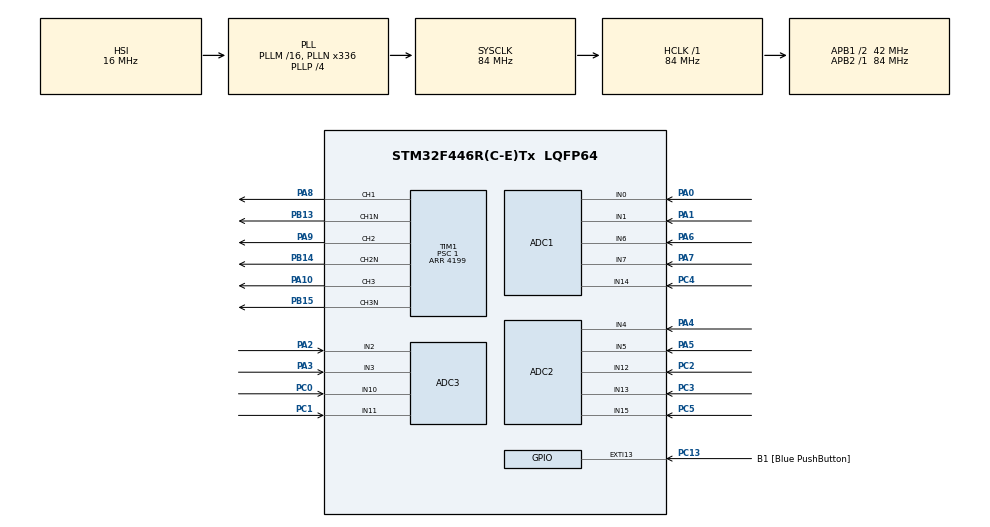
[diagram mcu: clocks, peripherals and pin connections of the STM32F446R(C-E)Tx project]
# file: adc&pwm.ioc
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ADC1.Channel-0\#ChannelRegularConversion=ADC_CHANNEL_0
ADC1.Channel-1\#ChannelRegularConversion=ADC_CHANNEL_1
ADC1.Channel-2\#ChannelRegularConversion=ADC_CHANNEL_6
ADC1.Channel-3\#ChannelRegularConversion=ADC_CHANNEL_7
ADC1.Channel-4\#ChannelRegularConversion=ADC_CHANNEL_14
ADC1.ContinuousConvMode=ENABLE
ADC1.DMAContinuousRequests=ENABLE
ADC1.EOCSelection=ADC_EOC_SINGLE_CONV
ADC1.EnableAnalogWatchDog=false
ADC1.Mode=ADC_TRIPLEMODE_REGSIMULT
ADC1.NbrOfConversion=5
ADC1.NbrOfConversionFlag=1
ADC1.Rank-0\#ChannelRegularConversion=1
ADC1.Rank-1\#ChannelRegularConversion=2
ADC1.Rank-2\#ChannelRegularConversion=3
ADC1.Rank-3\#ChannelRegularConversion=4
ADC1.Rank-4\#ChannelRegularConversion=5
ADC1.SamplingTime-0\#ChannelRegularConversion=ADC_SAMPLETIME_3CYCLES
ADC1.SamplingTime-1\#ChannelRegularConversion=ADC_SAMPLETIME_3CYCLES
ADC1.SamplingTime-2\#ChannelRegularConversion=ADC_SAMPLETIME_3CYCLES
ADC1.SamplingTime-3\#ChannelRegularConversion=ADC_SAMPLETIME_3CYCLES
ADC1.SamplingTime-4\#ChannelRegularConversion=ADC_SAMPLETIME_3CYCLES
ADC1.master=1
ADC2.Channel-3\#ChannelRegularConversion=ADC_CHANNEL_12
ADC2.Channel-4\#ChannelRegularConversion=ADC_CHANNEL_13
ADC2.Channel-5\#ChannelRegularConversion=ADC_CHANNEL_4
ADC2.Channel-6\#ChannelRegularConversion=ADC_CHANNEL_5
ADC2.Channel-7\#ChannelRegularConversion=ADC_CHANNEL_15
ADC2.Mode=ADC_TRIPLEMODE_REGSIMULT
ADC2.NbrOfConversion=5
ADC2.NbrOfConversionFlag=1
ADC2.Rank-3\#ChannelRegularConversion=1
ADC2.Rank-4\#ChannelRegularConversion=2
ADC2.Rank-5\#ChannelRegularConversion=3
ADC2.Rank-6\#ChannelRegularConversion=4
ADC2.Rank-7\#ChannelRegularConversion=5
ADC2.SamplingTime-3\#ChannelRegularConversion=ADC_SAMPLETIME_3CYCLES
ADC2.SamplingTime-4\#ChannelRegularConversion=ADC_SAMPLETIME_3CYCLES
ADC2.SamplingTime-5\#ChannelRegularConversion=ADC_SAMPLETIME_3CYCLES
ADC2.SamplingTime-6\#ChannelRegularConversion=ADC_SAMPLETIME_3CYCLES
ADC2.SamplingTime-7\#ChannelRegularConversion=ADC_SAMPLETIME_3CYCLES
ADC3.Channel-0\#ChannelRegularConversion=ADC_CHANNEL_10
ADC3.Channel-1\#ChannelRegularConversion=ADC_CHANNEL_11
ADC3.Channel-2\#ChannelRegularConversion=ADC_CHANNEL_2
ADC3.Channel-3\#ChannelRegularConversion=ADC_CHANNEL_3
ADC3.Channel-4\#ChannelRegularConversion=ADC_CHANNEL_10
ADC3.Mode=ADC_TRIPLEMODE_REGSIMULT
ADC3.NbrOfConversion=5
ADC3.NbrOfConversionFlag=1
ADC3.Rank-0\#ChannelRegularConversion=1
ADC3.Rank-1\#ChannelRegularConversion=2
ADC3.Rank-2\#ChannelRegularConversion=3
ADC3.Rank-3\#ChannelRegularConversion=4
ADC3.Rank-4\#ChannelRegularConversion=5
ADC3.SamplingTime-0\#ChannelRegularConversion=ADC_SAMPLETIME_3CYCLES
ADC3.SamplingTime-1\#ChannelRegularConversion=ADC_SAMPLETIME_3CYCLES
ADC3.SamplingTime-2\#ChannelRegularConversion=ADC_SAMPLETIME_3CYCLES
ADC3.SamplingTime-3\#ChannelRegularConversion=ADC_SAMPLETIME_3CYCLES
ADC3.SamplingTime-4\#ChannelRegularConversion=ADC_SAMPLETIME_3CYCLES
Dma.ADC1.0.Direction=DMA_PERIPH_TO_MEMORY
Dma.ADC1.0.FIFOMode=DMA_FIFOMODE_DISABLE
Dma.ADC1.0.Instance=DMA2_Stream0
Dma.ADC1.0.MemDataAlignment=DMA_MDATAALIGN_WORD
Dma.ADC1.0.MemInc=DMA_MINC_ENABLE
Dma.ADC1.0.Mode=DMA_CIRCULAR
Dma.ADC1.0.PeriphDataAlignment=DMA_PDATAALIGN_WORD
Dma.ADC1.0.PeriphInc=DMA_PINC_DISABLE
Dma.ADC1.0.Priority=DMA_PRIORITY_LOW
Dma.ADC2.2.Direction=DMA_PERIPH_TO_MEMORY
Dma.ADC2.2.FIFOMode=DMA_FIFOMODE_DISABLE
Dma.ADC2.2.Instance=DMA2_Stream2
Dma.ADC2.2.MemDataAlignment=DMA_MDATAALIGN_WORD
Dma.ADC2.2.MemInc=DMA_MINC_ENABLE
Dma.ADC2.2.Mode=DMA_CIRCULAR
Dma.ADC2.2.PeriphDataAlignment=DMA_PDATAALIGN_WORD
Dma.ADC2.2.PeriphInc=DMA_PINC_DISABLE
Dma.ADC2.2.Priority=DMA_PRIORITY_LOW
Dma.ADC3.1.Direction=DMA_PERIPH_TO_MEMORY
Dma.ADC3.1.FIFOMode=DMA_FIFOMODE_DISABLE
Dma.ADC3.1.Instance=DMA2_Stream1
Dma.ADC3.1.MemDataAlignment=DMA_MDATAALIGN_WORD
Dma.ADC3.1.MemInc=DMA_MINC_ENABLE
Dma.ADC3.1.Mode=DMA_CIRCULAR
Dma.ADC3.1.PeriphDataAlignment=DMA_PDATAALIGN_WORD
Dma.ADC3.1.PeriphInc=DMA_PINC_DISABLE
Dma.ADC3.1.Priority=DMA_PRIORITY_LOW
Dma.Request0=ADC1
Dma.Request1=ADC3
Dma.Request2=ADC2
Mcu.Family=STM32F4
Mcu.Name=STM32F446R(C-E)Tx
Mcu.Package=LQFP64
NVIC.DMA2_Stream0_IRQn=true\:0\:0\:false\:false\:true\:false\:true\:true
NVIC.DMA2_Stream1_IRQn=true\:0\:0\:false\:false\:true\:false\:true\:true
NVIC.DMA2_Stream2_IRQn=true\:0\:0\:false\:false\:true\:false\:true\:true
NVIC.PriorityGroup=NVIC_PRIORITYGROUP_0
PA0-WKUP.Signal=ADCx_IN0
PA1.Signal=ADCx_IN1
PA10.Signal=S_TIM1_CH3
PA13.GPIO_Label=TMS
PA13.Mode=Serial_Wire
PA13.Signal=SYS_JTMS-SWDIO
PA14.GPIO_Label=TCK
PA14.Mode=Serial_Wire
PA14.Signal=SYS_JTCK-SWCLK
PA2.Signal=ADCx_IN2
PA3.Signal=ADCx_IN3
PA4.Signal=ADCx_IN4
PA5.Signal=ADCx_IN5
PA6.Signal=ADCx_IN6
PA7.Signal=ADCx_IN7
PA8.Signal=S_TIM1_CH1
PA9.Signal=S_TIM1_CH2
PB13.Mode=PWM Generation1 CH1 CH1N
PB13.Signal=TIM1_CH1N
PB14.Mode=PWM Generation2 CH2 CH2N
PB14.Signal=TIM1_CH2N
PB15.Mode=PWM Generation3 CH3 CH3N
PB15.Signal=TIM1_CH3N
PB3.GPIO_Label=SWO
PB3.Signal=SYS_JTDO-SWO
PC0.Signal=ADCx_IN10
PC1.Signal=ADCx_IN11
PC13.GPIO_Label=B1 [Blue PushButton]
PC13.GPIO_ModeDefaultEXTI=GPIO_MODE_IT_FALLING
PC13.Signal=GPXTI13
PC14-OSC32_IN.Mode=LSE-External-Oscillator
PC14-OSC32_IN.Signal=RCC_OSC32_IN
PC15-OSC32_OUT.Mode=LSE-External-Oscillator
PC15-OSC32_OUT.Signal=RCC_OSC32_OUT
PC2.Signal=ADCx_IN12
PC3.Signal=ADCx_IN13
PC4.Signal=ADCx_IN14
PC5.Signal=ADCx_IN15
PH0-OSC_IN.Mode=HSE-External-Oscillator
PH0-OSC_IN.Signal=RCC_OSC_IN
PH1-OSC_OUT.Mode=HSE-External-Oscillator
PH1-OSC_OUT.Signal=RCC_OSC_OUT
ProjectManager.HeapSize=0x200
ProjectManager.StackSize=0x400
ProjectManager.TargetToolchain=STM32CubeIDE
RCC.48MHZClocksFreq_Value=84000000
RCC.AHBFreq_Value=84000000
RCC.APB1CLKDivider=RCC_HCLK_DIV2
RCC.APB1Freq_Value=42000000
RCC.APB1TimFreq_Value=84000000
RCC.APB2Freq_Value=84000000
RCC.APB2TimFreq_Value=84000000
RCC.CortexFreq_Value=84000000
RCC.FLatency-AdvancedSettings=FLASH_LATENCY_2
RCC.HCLKFreq_Value=84000000
RCC.HSE_VALUE=8000000
RCC.HSI_VALUE=16000000
RCC.PLLN=336
RCC.PLLP=RCC_PLLP_DIV4
RCC.SYSCLKFreq_VALUE=84000000
RCC.SYSCLKSource=RCC_SYSCLKSOURCE_PLLCLK
RCC.USBFreq_Value=168000000
RCC.VCOOutputFreq_Value=336000000
SH.ADCx_IN0.0=ADC1_IN0,IN0
SH.ADCx_IN1.0=ADC1_IN1,IN1
SH.ADCx_IN10.0=ADC3_IN10,IN10
SH.ADCx_IN11.0=ADC3_IN11,IN11
SH.ADCx_IN12.0=ADC2_IN12,IN12
SH.ADCx_IN13.0=ADC2_IN13,IN13
SH.ADCx_IN14.0=ADC1_IN14,IN14
SH.ADCx_IN15.0=ADC2_IN15,IN15
SH.ADCx_IN2.0=ADC3_IN2,IN2
SH.ADCx_IN3.0=ADC3_IN3,IN3
SH.ADCx_IN4.0=ADC2_IN4,IN4
SH.ADCx_IN5.0=ADC2_IN5,IN5
SH.ADCx_IN6.0=ADC1_IN6,IN6
SH.ADCx_IN7.0=ADC1_IN7,IN7
SH.S_TIM1_CH1.0=TIM1_CH1,PWM Generation1 CH1 CH1N
SH.S_TIM1_CH2.0=TIM1_CH2,PWM Generation2 CH2 CH2N
SH.S_TIM1_CH3.0=TIM1_CH3,PWM Generation3 CH3 CH3N
TIM1.AutoReloadPreload=TIM_AUTORELOAD_PRELOAD_ENABLE
TIM1.Channel-PWM\ Generation1\ CH1\ CH1N=TIM_CHANNEL_1
TIM1.Channel-PWM\ Generation2\ CH2\ CH2N=TIM_CHANNEL_2
TIM1.Channel-PWM\ Generation3\ CH3\ CH3N=TIM_CHANNEL_3
TIM1.OCNPolarity_1=TIM_OCNPOLARITY_LOW
TIM1.OCNPolarity_2=TIM_OCNPOLARITY_LOW
TIM1.OCNPolarity_3=TIM_OCNPOLARITY_LOW
TIM1.Period=4199
TIM1.Prescaler=1
TIM1.Pulse-PWM\ Generation1\ CH1\ CH1N=2100
TIM1.Pulse-PWM\ Generation2\ CH2\ CH2N=3150
TIM1.Pulse-PWM\ Generation3\ CH3\ CH3N=4100
VP_TIM1_VS_ClockSourceINT.Mode=Internal
board=NUCLEO-F446RE

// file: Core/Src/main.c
/* USER CODE BEGIN Header */
/**
  ******************************************************************************
  * @file           : main.c
  * @brief          : Main program body
  ******************************************************************************
  * @attention
  *
  * Copyright (c) 2026 STMicroelectronics.
  * All rights reserved.
  *
  * This software is licensed under terms that can be found in the LICENSE file
  * in the root directory of this software component.
  * If no LICENSE file comes with this software, it is provided AS-IS.
  *
  ******************************************************************************
  */
/* USER CODE END Header */
#include "main.h"

/* USER CODE BEGIN Includes */
#include <stdio.h>
/* USER CODE END Includes */

/* USER CODE BEGIN PD */
#define PUTCHAR_PROTOTYPE int __io_putchar(int ch)
/* USER CODE END PD */

ADC_HandleTypeDef hadc1;
ADC_HandleTypeDef hadc2;
ADC_HandleTypeDef hadc3;
DMA_HandleTypeDef hdma_adc1;

TIM_HandleTypeDef htim1;

/* USER CODE BEGIN PV */
uint32_t adc_dma_buf[15];
int i = 0;
/* USER CODE END PV */

void SystemClock_Config(void);
static void MX_GPIO_Init(void);
static void MX_DMA_Init(void);
static void MX_ADC1_Init(void);
static void MX_ADC2_Init(void);
static void MX_ADC3_Init(void);
static void MX_TIM1_Init(void);

int main(void)
{

  /* MCU Configuration--------------------------------------------------------*/

  /* Reset of all peripherals, Initializes the Flash interface and the Systick. */
  HAL_Init();

  /* Configure the system clock */
  SystemClock_Config();

  /* Initialize all configured peripherals */
  MX_GPIO_Init();
  MX_DMA_Init();
  MX_ADC1_Init();
  MX_ADC2_Init();
  MX_ADC3_Init();
  MX_TIM1_Init();
  /* USER CODE BEGIN 2 */
  HAL_TIM_PWM_Start(&htim1, TIM_CHANNEL_1);
  HAL_TIMEx_PWMN_Start(&htim1, TIM_CHANNEL_1);
  HAL_TIM_PWM_Start(&htim1, TIM_CHANNEL_2);
  HAL_TIMEx_PWMN_Start(&htim1, TIM_CHANNEL_2);
  HAL_TIM_PWM_Start(&htim1, TIM_CHANNEL_3);
  HAL_TIMEx_PWMN_Start(&htim1, TIM_CHANNEL_3);

  HAL_ADC_Start(&hadc2);
  HAL_ADC_Start(&hadc3);

  i = 1;
  HAL_ADCEx_MultiModeStart_DMA(&hadc1, adc_dma_buf, 15);
  i=2;

  /* USER CODE END 2 */

  /* Infinite loop */
  /* USER CODE BEGIN WHILE */
  while (1)
  {
	i++;
    TIM1->CCR1 = adc_dma_buf[12]+50;
    TIM1->CCR2 = adc_dma_buf[12]+50;
    TIM1->CCR3 = ((uint16_t) adc_dma_buf[12]*0.3) + 1400;
	HAL_Delay(10);
    /* USER CODE END WHILE */

  }
}

void SystemClock_Config(void)
{
  RCC_OscInitTypeDef RCC_OscInitStruct = {0};
  RCC_ClkInitTypeDef RCC_ClkInitStruct = {0};

  /** Configure the main internal regulator output voltage
  */
  __HAL_RCC_PWR_CLK_ENABLE();
  __HAL_PWR_VOLTAGESCALING_CONFIG(PWR_REGULATOR_VOLTAGE_SCALE3);

  /** Initializes the RCC Oscillators according to the specified parameters
  * in the RCC_OscInitTypeDef structure.
  */
  RCC_OscInitStruct.OscillatorType = RCC_OSCILLATORTYPE_HSI;
  RCC_OscInitStruct.HSIState = RCC_HSI_ON;
  RCC_OscInitStruct.HSICalibrationValue = RCC_HSICALIBRATION_DEFAULT;
  RCC_OscInitStruct.PLL.PLLState = RCC_PLL_ON;
  RCC_OscInitStruct.PLL.PLLSource = RCC_PLLSOURCE_HSI;
  RCC_OscInitStruct.PLL.PLLM = 16;
  RCC_OscInitStruct.PLL.PLLN = 336;
  RCC_OscInitStruct.PLL.PLLP = RCC_PLLP_DIV4;
  RCC_OscInitStruct.PLL.PLLQ = 2;
  RCC_OscInitStruct.PLL.PLLR = 2;
  if (HAL_RCC_OscConfig(&RCC_OscInitStruct) != HAL_OK)
  {
    Error_Handler();
  }

  /** Initializes the CPU, AHB and APB buses clocks
  */
  RCC_ClkInitStruct.ClockType = RCC_CLOCKTYPE_HCLK|RCC_CLOCKTYPE_SYSCLK
                              |RCC_CLOCKTYPE_PCLK1|RCC_CLOCKTYPE_PCLK2;
  RCC_ClkInitStruct.SYSCLKSource = RCC_SYSCLKSOURCE_PLLCLK;
  RCC_ClkInitStruct.AHBCLKDivider = RCC_SYSCLK_DIV1;
  RCC_ClkInitStruct.APB1CLKDivider = RCC_HCLK_DIV2;
  RCC_ClkInitStruct.APB2CLKDivider = RCC_HCLK_DIV1;

  if (HAL_RCC_ClockConfig(&RCC_ClkInitStruct, FLASH_LATENCY_2) != HAL_OK)
  {
    Error_Handler();
  }
}

static void MX_ADC1_Init(void)
{

  ADC_MultiModeTypeDef multimode = {0};
  ADC_ChannelConfTypeDef sConfig = {0};

  /** Configure the global features of the ADC (Clock, Resolution, Data Alignment and number of conversion)
  */
  hadc1.Instance = ADC1;
  hadc1.Init.ClockPrescaler = ADC_CLOCK_SYNC_PCLK_DIV4;
  hadc1.Init.Resolution = ADC_RESOLUTION_12B;
  hadc1.Init.ScanConvMode = ENABLE;
  hadc1.Init.ContinuousConvMode = ENABLE;
  hadc1.Init.DiscontinuousConvMode = DISABLE;
  hadc1.Init.ExternalTrigConvEdge = ADC_EXTERNALTRIGCONVEDGE_RISING;
  hadc1.Init.ExternalTrigConv = ADC_EXTERNALTRIGCONV_T1_CC1;
  hadc1.Init.DataAlign = ADC_DATAALIGN_RIGHT;
  hadc1.Init.NbrOfConversion = 5;
  hadc1.Init.DMAContinuousRequests = ENABLE;
  hadc1.Init.EOCSelection = ADC_EOC_SEQ_CONV;
  if (HAL_ADC_Init(&hadc1) != HAL_OK)
  {
    Error_Handler();
  }

  /** Configure the ADC multi-mode
  */
  multimode.Mode = ADC_TRIPLEMODE_REGSIMULT;
  multimode.DMAAccessMode = ADC_DMAACCESSMODE_1;
  multimode.TwoSamplingDelay = ADC_TWOSAMPLINGDELAY_5CYCLES;
  if (HAL_ADCEx_MultiModeConfigChannel(&hadc1, &multimode) != HAL_OK)
  {
    Error_Handler();
  }

  /** Configure for the selected ADC regular channel its corresponding rank in the sequencer and its sample time.
  */
  sConfig.Channel = ADC_CHANNEL_0;
  sConfig.Rank = 1;
  sConfig.SamplingTime = ADC_SAMPLETIME_3CYCLES;
  if (HAL_ADC_ConfigChannel(&hadc1, &sConfig) != HAL_OK)
  {
    Error_Handler();
  }

  /** Configure for the selected ADC regular channel its corresponding rank in the sequencer and its sample time.
  */
  sConfig.Channel = ADC_CHANNEL_1;
  sConfig.Rank = 2;
  if (HAL_ADC_ConfigChannel(&hadc1, &sConfig) != HAL_OK)
  {
    Error_Handler();
  }

  /** Configure for the selected ADC regular channel its corresponding rank in the sequencer and its sample time.
  */
  sConfig.Channel = ADC_CHANNEL_6;
  sConfig.Rank = 3;
  if (HAL_ADC_ConfigChannel(&hadc1, &sConfig) != HAL_OK)
  {
    Error_Handler();
  }

  /** Configure for the selected ADC regular channel its corresponding rank in the sequencer and its sample time.
  */
  sConfig.Channel = ADC_CHANNEL_7;
  sConfig.Rank = 4;
  if (HAL_ADC_ConfigChannel(&hadc1, &sConfig) != HAL_OK)
  {
    Error_Handler();
  }

  /** Configure for the selected ADC regular channel its corresponding rank in the sequencer and its sample time.
  */
  sConfig.Channel = ADC_CHANNEL_14;
  sConfig.Rank = 5;
  if (HAL_ADC_ConfigChannel(&hadc1, &sConfig) != HAL_OK)
  {
    Error_Handler();
  }

}

static void MX_ADC2_Init(void)
{

  ADC_ChannelConfTypeDef sConfig = {0};

  /** Configure the global features of the ADC (Clock, Resolution, Data Alignment and number of conversion)
  */
  hadc2.Instance = ADC2;
  hadc2.Init.ClockPrescaler = ADC_CLOCK_SYNC_PCLK_DIV4;
  hadc2.Init.Resolution = ADC_RESOLUTION_12B;
  hadc2.Init.ScanConvMode = ENABLE;
  hadc2.Init.ContinuousConvMode = ENABLE;
  hadc2.Init.DiscontinuousConvMode = DISABLE;
  hadc2.Init.DataAlign = ADC_DATAALIGN_RIGHT;
  hadc2.Init.NbrOfConversion = 5;
  hadc2.Init.DMAContinuousRequests = DISABLE;
  hadc2.Init.EOCSelection = ADC_EOC_SEQ_CONV;
  if (HAL_ADC_Init(&hadc2) != HAL_OK)
  {
    Error_Handler();
  }

  /** Configure for the selected ADC regular channel its corresponding rank in the sequencer and its sample time.
  */
  sConfig.Channel = ADC_CHANNEL_12;
  sConfig.Rank = 1;
  sConfig.SamplingTime = ADC_SAMPLETIME_3CYCLES;
  if (HAL_ADC_ConfigChannel(&hadc2, &sConfig) != HAL_OK)
  {
    Error_Handler();
  }

  /** Configure for the selected ADC regular channel its corresponding rank in the sequencer and its sample time.
  */
  sConfig.Channel = ADC_CHANNEL_13;
  sConfig.Rank = 2;
  if (HAL_ADC_ConfigChannel(&hadc2, &sConfig) != HAL_OK)
  {
    Error_Handler();
  }

  /** Configure for the selected ADC regular channel its corresponding rank in the sequencer and its sample time.
  */
  sConfig.Channel = ADC_CHANNEL_4;
  sConfig.Rank = 3;
  if (HAL_ADC_ConfigChannel(&hadc2, &sConfig) != HAL_OK)
  {
    Error_Handler();
  }

  /** Configure for the selected ADC regular channel its corresponding rank in the sequencer and its sample time.
  */
  sConfig.Channel = ADC_CHANNEL_5;
  sConfig.Rank = 4;
  if (HAL_ADC_ConfigChannel(&hadc2, &sConfig) != HAL_OK)
  {
    Error_Handler();
  }

  /** Configure for the selected ADC regular channel its corresponding rank in the sequencer and its sample time.
  */
  sConfig.Channel = ADC_CHANNEL_15;
  sConfig.Rank = 5;
  if (HAL_ADC_ConfigChannel(&hadc2, &sConfig) != HAL_OK)
  {
    Error_Handler();
  }

}

static void MX_ADC3_Init(void)
{

  ADC_ChannelConfTypeDef sConfig = {0};

  /** Configure the global features of the ADC (Clock, Resolution, Data Alignment and number of conversion)
  */
  hadc3.Instance = ADC3;
  hadc3.Init.ClockPrescaler = ADC_CLOCK_SYNC_PCLK_DIV4;
  hadc3.Init.Resolution = ADC_RESOLUTION_12B;
  hadc3.Init.ScanConvMode = ENABLE;
  hadc3.Init.ContinuousConvMode = ENABLE;
  hadc3.Init.DiscontinuousConvMode = DISABLE;
  hadc3.Init.DataAlign = ADC_DATAALIGN_RIGHT;
  hadc3.Init.NbrOfConversion = 5;
  hadc3.Init.DMAContinuousRequests = DISABLE;
  hadc3.Init.EOCSelection = ADC_EOC_SEQ_CONV;
  if (HAL_ADC_Init(&hadc3) != HAL_OK)
  {
    Error_Handler();
  }

  /** Configure for the selected ADC regular channel its corresponding rank in the sequencer and its sample time.
  */
  sConfig.Channel = ADC_CHANNEL_10;
  sConfig.Rank = 1;
  sConfig.SamplingTime = ADC_SAMPLETIME_3CYCLES;
  if (HAL_ADC_ConfigChannel(&hadc3, &sConfig) != HAL_OK)
  {
    Error_Handler();
  }

  /** Configure for the selected ADC regular channel its corresponding rank in the sequencer and its sample time.
  */
  sConfig.Channel = ADC_CHANNEL_11;
  sConfig.Rank = 2;
  if (HAL_ADC_ConfigChannel(&hadc3, &sConfig) != HAL_OK)
  {
    Error_Handler();
  }

  /** Configure for the selected ADC regular channel its corresponding rank in the sequencer and its sample time.
  */
  sConfig.Channel = ADC_CHANNEL_2;
  sConfig.Rank = 3;
  if (HAL_ADC_ConfigChannel(&hadc3, &sConfig) != HAL_OK)
  {
    Error_Handler();
  }

  /** Configure for the selected ADC regular channel its corresponding rank in the sequencer and its sample time.
  */
  sConfig.Channel = ADC_CHANNEL_3;
  sConfig.Rank = 4;
  if (HAL_ADC_ConfigChannel(&hadc3, &sConfig) != HAL_OK)
  {
    Error_Handler();
  }

  /** Configure for the selected ADC regular channel its corresponding rank in the sequencer and its sample time.
  */
  sConfig.Channel = ADC_CHANNEL_10;
  sConfig.Rank = 5;
  if (HAL_ADC_ConfigChannel(&hadc3, &sConfig) != HAL_OK)
  {
    Error_Handler();
  }

}

static void MX_TIM1_Init(void)
{

  TIM_ClockConfigTypeDef sClockSourceConfig = {0};
  TIM_MasterConfigTypeDef sMasterConfig = {0};
  TIM_OC_InitTypeDef sConfigOC = {0};
  TIM_BreakDeadTimeConfigTypeDef sBreakDeadTimeConfig = {0};

  htim1.Instance = TIM1;
  htim1.Init.Prescaler = 1;
  htim1.Init.CounterMode = TIM_COUNTERMODE_CENTERALIGNED1;
  htim1.Init.Period = 4199;
  htim1.Init.ClockDivision = TIM_CLOCKDIVISION_DIV1;
  htim1.Init.RepetitionCounter = 0;
  htim1.Init.AutoReloadPreload = TIM_AUTORELOAD_PRELOAD_ENABLE;
  if (HAL_TIM_Base_Init(&htim1) != HAL_OK)
  {
    Error_Handler();
  }
  sClockSourceConfig.ClockSource = TIM_CLOCKSOURCE_INTERNAL;
  if (HAL_TIM_ConfigClockSource(&htim1, &sClockSourceConfig) != HAL_OK)
  {
    Error_Handler();
  }
  if (HAL_TIM_PWM_Init(&htim1) != HAL_OK)
  {
    Error_Handler();
  }
  sMasterConfig.MasterOutputTrigger = TIM_TRGO_UPDATE;
  sMasterConfig.MasterSlaveMode = TIM_MASTERSLAVEMODE_ENABLE;
  if (HAL_TIMEx_MasterConfigSynchronization(&htim1, &sMasterConfig) != HAL_OK)
  {
    Error_Handler();
  }
  sConfigOC.OCMode = TIM_OCMODE_PWM1;
  sConfigOC.Pulse = 2100;
  sConfigOC.OCPolarity = TIM_OCPOLARITY_HIGH;
  sConfigOC.OCNPolarity = TIM_OCNPOLARITY_HIGH;
  sConfigOC.OCFastMode = TIM_OCFAST_DISABLE;
  sConfigOC.OCIdleState = TIM_OCIDLESTATE_RESET;
  sConfigOC.OCNIdleState = TIM_OCNIDLESTATE_RESET;
  if (HAL_TIM_PWM_ConfigChannel(&htim1, &sConfigOC, TIM_CHANNEL_1) != HAL_OK)
  {
    Error_Handler();
  }
  sConfigOC.Pulse = 3150;
  if (HAL_TIM_PWM_ConfigChannel(&htim1, &sConfigOC, TIM_CHANNEL_2) != HAL_OK)
  {
    Error_Handler();
  }
  sConfigOC.Pulse = 4100;
  if (HAL_TIM_PWM_ConfigChannel(&htim1, &sConfigOC, TIM_CHANNEL_3) != HAL_OK)
  {
    Error_Handler();
  }
  sBreakDeadTimeConfig.OffStateRunMode = TIM_OSSR_DISABLE;
  sBreakDeadTimeConfig.OffStateIDLEMode = TIM_OSSI_DISABLE;
  sBreakDeadTimeConfig.LockLevel = TIM_LOCKLEVEL_OFF;
  sBreakDeadTimeConfig.DeadTime = 10;
  sBreakDeadTimeConfig.BreakState = TIM_BREAK_DISABLE;
  sBreakDeadTimeConfig.BreakPolarity = TIM_BREAKPOLARITY_HIGH;
  sBreakDeadTimeConfig.AutomaticOutput = TIM_AUTOMATICOUTPUT_DISABLE;
  if (HAL_TIMEx_ConfigBreakDeadTime(&htim1, &sBreakDeadTimeConfig) != HAL_OK)
  {
    Error_Handler();
  }
  HAL_TIM_MspPostInit(&htim1);

}

static void MX_DMA_Init(void)
{

  /* DMA controller clock enable */
  __HAL_RCC_DMA2_CLK_ENABLE();

  /* DMA interrupt init */
  /* DMA2_Stream0_IRQn interrupt configuration */
  HAL_NVIC_SetPriority(DMA2_Stream0_IRQn, 0, 0);
//  HAL_NVIC_EnableIRQ(DMA2_Stream0_IRQn);

}

static void MX_GPIO_Init(void)
{
  GPIO_InitTypeDef GPIO_InitStruct = {0};

  /* GPIO Ports Clock Enable */
  __HAL_RCC_GPIOC_CLK_ENABLE();
  __HAL_RCC_GPIOH_CLK_ENABLE();
  __HAL_RCC_GPIOA_CLK_ENABLE();
  __HAL_RCC_GPIOB_CLK_ENABLE();

  /*Configure GPIO pin : B1_Pin */
  GPIO_InitStruct.Pin = B1_Pin;
  GPIO_InitStruct.Mode = GPIO_MODE_IT_FALLING;
  GPIO_InitStruct.Pull = GPIO_NOPULL;
  HAL_GPIO_Init(B1_GPIO_Port, &GPIO_InitStruct);

}

void Error_Handler(void)
{
  __disable_irq();
  while (1)
  {
  }
}
